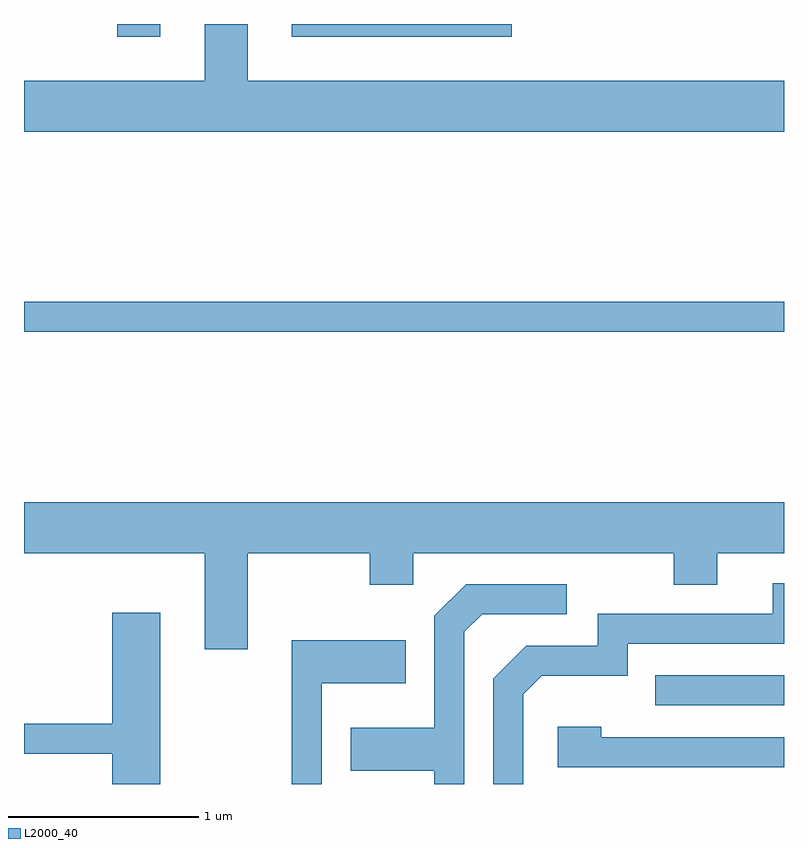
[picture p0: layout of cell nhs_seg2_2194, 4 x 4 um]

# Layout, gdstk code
import gdstk
lib = gdstk.Library(unit=1e-6, precision=1e-09)
def R(c, l, rs):  # rectangles x0, y0, x1, y1
    for r in rs: c.add(gdstk.rectangle(r[:2], r[2:], *l))
def P(c, l, *ps):  # polygons
    for p in ps: c.add(gdstk.Polygon(p, *l))
L2000_40 = (2000, 40)

nhs_seg2_2194 = lib.new_cell('nhs_seg2_2194')
R(nhs_seg2_2194, L2000_40, [(252.933,1014.216,253.611,1014.374), (249.611,1016.181,253.611,1016.339), (250.101,1017.736,250.329,1017.802), (251.021,1017.736,252.178,1017.802)])
P(nhs_seg2_2194, L2000_40, [(253.611,1017.504),(250.789,1017.504),(250.789,1017.802),(250.561,1017.802),(250.561,1017.504),(249.611,1017.504),(249.611,1017.236),(253.611,1017.236)],
  [(250.789,1015.016),(251.431,1015.016),(251.431,1014.851),(251.659,1014.851),(251.659,1015.016),(253.031,1015.016),(253.031,1014.851),(253.259,1014.851),(253.259,1015.016),(253.611,1015.016),(253.611,1015.284),(249.611,1015.284),(249.611,1015.016),(250.561,1015.016),(250.561,1014.511),(250.789,1014.511)],
  [(252.239,1014.274),(252.337,1014.371),(252.789,1014.371),(252.789,1014.541),(253.611,1014.541),(253.611,1014.859),(253.551,1014.859),(253.551,1014.699),(252.631,1014.699),(252.631,1014.529),(252.254,1014.529),(252.081,1014.357),(252.081,1013.802),(252.239,1013.802)],
  [(251.929,1014.604),(252.022,1014.696),(252.468,1014.696),(252.468,1014.854),(251.939,1014.854),(251.771,1014.687),(251.771,1014.099),(251.331,1014.099),(251.331,1013.871),(251.771,1013.871),(251.771,1013.802),(251.929,1013.802)],
  [(250.329,1014.704),(250.076,1014.704),(250.076,1014.119),(249.611,1014.119),(249.611,1013.961),(250.076,1013.961),(250.076,1013.802),(250.329,1013.802)],
  [(251.179,1014.331),(251.619,1014.331),(251.619,1014.559),(251.021,1014.559),(251.021,1013.802),(251.179,1013.802)],
  [(253.611,1014.049),(252.649,1014.049),(252.649,1014.104),(252.421,1014.104),(252.421,1013.891),(253.611,1013.891)])

lib.write_gds('nhs_seg2_2194.gds')
